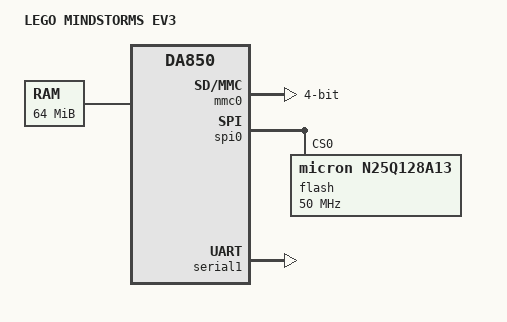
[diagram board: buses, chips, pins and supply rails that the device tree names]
// SPDX-License-Identifier: GPL-2.0-only
/*
 * Device tree for LEGO MINDSTORMS EV3
 *
 * Copyright (C) 2017 David Lechner <david@lechnology.com>
 */

/dts-v1/;

/ {
	#address-cells = <1>;
	#size-cells = <1>;
	compatible = "lego,ev3", "ti,da850";
	model = "LEGO MINDSTORMS EV3";

	aliases {
		serial1 = &serial1;
		spi0 = &spi0;
	};

	chosen {
		stdout-path = &serial1;
	};

	memory@c0000000 {
		device_type = "memory";
		reg = <0xc0000000 0x04000000>;
	};

	arm {
		#address-cells = <1>;
		#size-cells = <1>;
		ranges;
		intc: interrupt-controller@fffee000 {
			compatible = "ti,cp-intc";
			interrupt-controller;
			#interrupt-cells = <1>;
			ti,intc-size = <101>;
			reg = <0xfffee000 0x2000>;
		};
	};

	soc@1c00000 {
		compatible = "simple-bus";
		model = "da850";
		#address-cells = <1>;
		#size-cells = <1>;
		ranges = <0x0 0x01c00000 0x400000>;
		interrupt-parent = <&intc>;

		mmc0: mmc@40000 {
			compatible = "ti,da830-mmc";
			reg = <0x40000 0x1000>;
			cap-sd-highspeed;
			cap-mmc-highspeed;
			interrupts = <16>;
			max-frequency = <50000000>;
			bus-width = <4>;
		};

		spi0: spi@41000 {
			#address-cells = <1>;
			#size-cells = <0>;
			compatible = "ti,da830-spi";
			reg = <0x41000 0x1000>;
			num-cs = <6>;
			ti,davinci-spi-intr-line = <1>;
			interrupts = <20>;

			flash@0 {
				compatible = "micron,n25q128a13", "jedec,spi-nor", "spi-flash";
				reg = <0>;
				spi-max-frequency = <50000000>;
			};
		};

		serial1: serial@10c000 {
			compatible = "ti,da830-uart", "ns16550a";
			reg = <0x10c000 0x100>;
			reg-io-width = <4>;
			reg-shift = <2>;
			interrupts = <53>;
		};
	};
};
